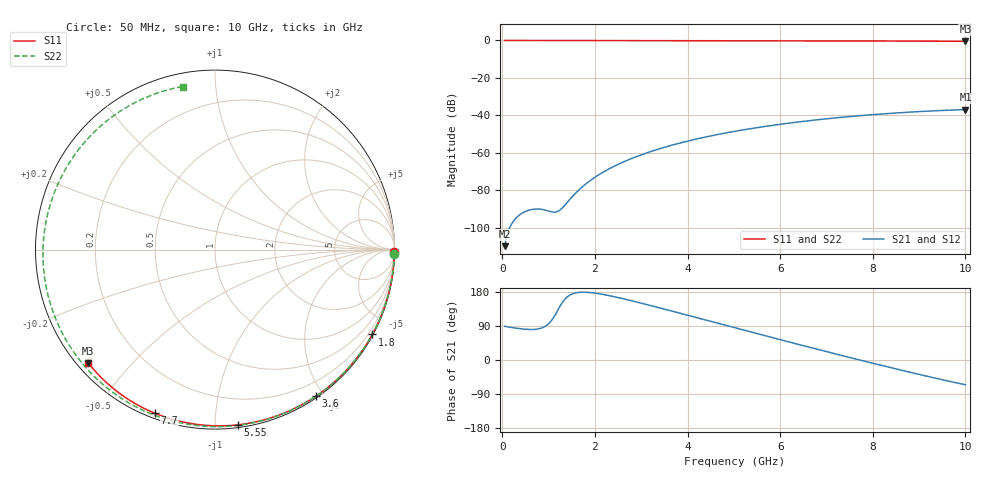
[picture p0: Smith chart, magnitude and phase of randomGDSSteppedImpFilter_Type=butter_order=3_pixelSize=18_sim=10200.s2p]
! freq	dB(S11)	phase(S11)	dB(S12)	phase(S12)
!  dB(S21)	phase(S21)	dB(S22)	phase(S22)
!S-par simulation data
#  GHz  S  DB  R 50
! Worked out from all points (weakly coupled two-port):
!   200 points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, 50 MHz to 10 GHz, reference 50 ohm
!   highest |S21| = -36.89 dB at 10 GHz (marker M1); lowest = -109.8 dB at 50 MHz (marker M2)
!   lowest |S11| = -0.5 dB at 10 GHz (marker M3), VSWR 37.05, Z = 1.55 - j19.1 ohm
!   |S11| at or under -10 dB: nowhere
!   |S22| runs from -0.7 to 0.0 dB; largest |S21 - S12| = 0
!   S11 on the Smith chart (normalised r, x): 50 MHz: open; 1.8 GHz: 0.03, -3.96; 3.6 GHz: 0.02, -1.91; 5.55 GHz: 0.02, -1.14; 7.7 GHz: 0.02, -0.70; 10 GHz: 0.03, -0.38
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0.05  -0.00 -0.8  -109.81 88.9  -109.81 88.9  -0.00 -1.3
0.8  -0.02 -12.7  -90.02 82.7  -90.02 82.7  -0.03 -21.4
1.6  -0.03 -25.2  -81.08 177.6  -81.08 177.6  -0.05 -42.4
1.65  -0.03 -26.0  -79.88 178.5  -79.88 178.5  -0.06 -43.7
1.75  -0.04 -27.6  -77.67 179.1  -77.67 179.1  -0.06 -46.3
1.8  -0.04 -28.3  -76.65 179.0  -76.65 179.0  -0.06 -47.6
2.1  -0.04 -32.9  -71.45 174.7  -71.45 174.7  -0.07 -55.3
2.45  -0.05 -38.3  -66.74 166.2  -66.74 166.2  -0.08 -64.1
2.9  -0.06 -45.0  -61.97 153.1  -61.97 153.1  -0.10 -75.2
3.4  -0.07 -52.4  -57.78 137.4  -57.78 137.4  -0.11 -87.4
3.6  -0.07 -55.3  -56.33 131.1  -56.33 131.1  -0.12 -92.2
4.3  -0.09 -65.4  -52.02 108.4  -52.02 108.4  -0.15 -108.7
5.05  -0.12 -75.8  -48.37 84.1  -48.37 84.1  -0.19 -126.2
5.55  -0.14 -82.6  -46.35 68.0  -46.35 68.0  -0.22 -137.8
6.15  -0.16 -90.5  -44.26 48.9  -44.26 48.9  -0.27 -151.8
6.7  -0.19 -97.6  -42.62 31.5  -42.62 31.5  -0.31 -165.0
7.2  -0.22 -104.0  -41.32 15.9  -41.32 15.9  -0.36 -177.4
7.7  -0.25 -110.2  -40.20 0.6  -40.20 0.6  -0.41 169.8
8.35  -0.30 -118.2  -38.96 -19.0  -38.96 -19.0  -0.48 152.1
9.15  -0.38 -127.9  -37.77 -42.3  -37.77 -42.3  -0.57 128.6
9.6  -0.42 -133.3  -37.26 -54.7  -37.26 -54.7  -0.62 114.4
10  -0.47 -138.2  -36.89 -65.3  -36.89 -65.3  -0.67 101.3
